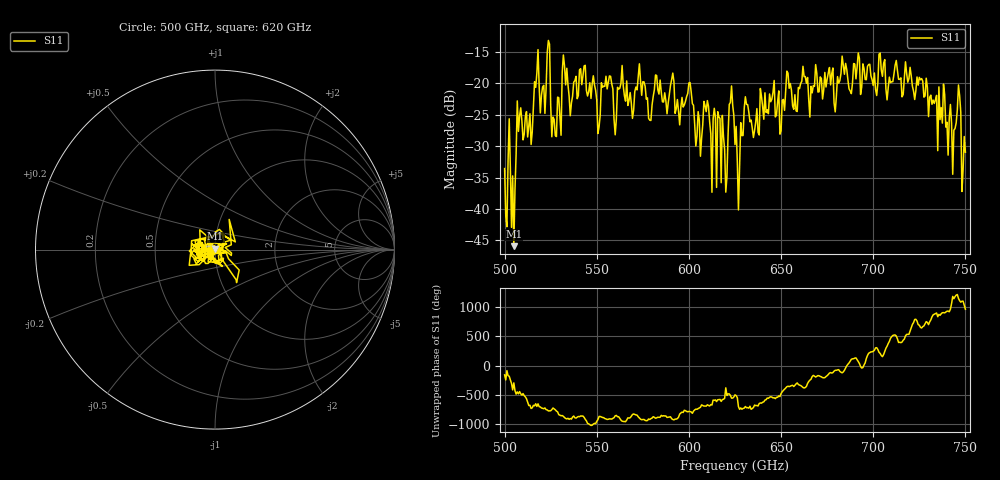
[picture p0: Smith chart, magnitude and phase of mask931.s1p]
!Created with skrf (http://scikit-rf.org).
# GHz S MA R 50.0
!freq magS11 angS11
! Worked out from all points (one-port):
!   401 points, 500 GHz to 750 GHz, reference 50 ohm
!   lowest |S11| = -45.9 dB at 505 GHz (marker M1), VSWR 1.01, Z = 50.2 + j0.456 ohm
!   |S11| at or under -10 dB: start of sweep to end of sweep
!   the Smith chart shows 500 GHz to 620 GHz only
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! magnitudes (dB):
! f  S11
! 500 GHz  -33.6
! 505 GHz  -45.9
! 508.1 GHz  -25.2
! 513.8 GHz  -24.8
! 517.5 GHz  -18.3
! 520.6 GHz  -20.6
! 523.8 GHz  -13.2
! 526.9 GHz  -25.8
! 531.2 GHz  -18.3
! 542.5 GHz  -18.8
! 550.6 GHz  -28.0
! 562.5 GHz  -20.8
! 590.6 GHz  -19.4
! 593.8 GHz  -22.6
! 600 GHz  -19.9
! 605 GHz  -24.5
! 609.4 GHz  -24.5
! 620 GHz  -37.3
! 623.1 GHz  -20.4
! 625 GHz  -29.7
! 626.2 GHz  -32.4
! 631.2 GHz  -23.3
! 656.2 GHz  -23.6
! 687.5 GHz  -21.2
! 718.8 GHz  -19.8
! 741.9 GHz  -23.4
! 746.2 GHz  -20.3
! 750 GHz  -31.0
